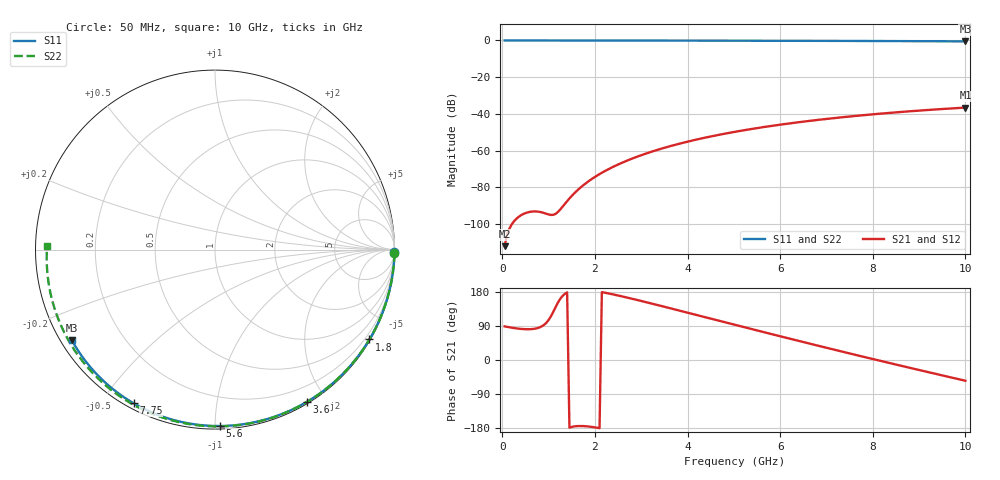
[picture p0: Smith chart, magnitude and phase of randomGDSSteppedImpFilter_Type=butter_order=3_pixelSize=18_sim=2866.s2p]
! freq	dB(S11)	phase(S11)	dB(S12)	phase(S12)
!  dB(S21)	phase(S21)	dB(S22)	phase(S22)
!S-par simulation data
#  GHz  S  DB  R 50
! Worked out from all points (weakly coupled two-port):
!   200 points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, 50 MHz to 10 GHz, reference 50 ohm
!   highest |S21| = -36.59 dB at 10 GHz (marker M1); lowest = -112.1 dB at 50 MHz (marker M2)
!   lowest |S11| = -0.5 dB at 10 GHz (marker M3), VSWR 34.69, Z = 1.56 - j14.5 ohm
!   |S11| at or under -10 dB: nowhere
!   |S22| runs from -0.6 to 0.0 dB; largest |S21 - S12| = 0
!   S11 on the Smith chart (normalised r, x): 50 MHz: open; 1.8 GHz: 0.03, -3.71; 3.6 GHz: 0.02, -1.77; 5.6 GHz: 0.02, -1.03; 7.75 GHz: 0.02, -0.60; 10 GHz: 0.03, -0.29
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0.05  -0.00 -0.9  -112.08 88.7  -112.08 88.7  -0.00 -1.1
0.4  -0.01 -6.8  -95.29 82.1  -95.29 82.1  -0.01 -8.5
0.8  -0.02 -13.6  -93.37 85.8  -93.37 85.8  -0.02 -16.9
1.2  -0.03 -20.3  -93.49 151.2  -93.49 151.2  -0.03 -25.2
1.65  -0.04 -27.7  -80.99 -174.2  -80.99 -174.2  -0.04 -34.5
1.7  -0.04 -28.5  -79.90 -174.2  -79.90 -174.2  -0.04 -35.5
1.75  -0.04 -29.4  -78.86 -174.4  -78.86 -174.4  -0.05 -36.5
1.8  -0.04 -30.2  -77.88 -174.8  -77.88 -174.8  -0.05 -37.5
2.1  -0.04 -35.1  -72.82 -179.8  -72.82 -179.8  -0.06 -43.6
2.5  -0.05 -41.5  -67.59 170.2  -67.59 170.2  -0.07 -51.5
2.9  -0.06 -47.9  -63.44 158.8  -63.44 158.8  -0.08 -59.3
3.4  -0.07 -55.8  -59.23 143.6  -59.23 143.6  -0.09 -68.9
3.6  -0.08 -58.9  -57.77 137.4  -57.77 137.4  -0.10 -72.6
4.3  -0.10 -69.5  -53.40 115.5  -53.40 115.5  -0.12 -85.4
5.05  -0.12 -80.6  -49.66 92.0  -49.66 92.0  -0.15 -98.7
5.6  -0.15 -88.5  -47.37 74.9  -47.37 74.9  -0.18 -108.1
6.15  -0.17 -96.2  -45.37 58.0  -45.37 58.0  -0.21 -117.4
6.7  -0.20 -103.8  -43.62 41.3  -43.62 41.3  -0.24 -126.4
7.75  -0.27 -117.9  -40.82 9.9  -40.82 9.9  -0.33 -143.6
8.35  -0.32 -125.8  -39.48 -7.7  -39.48 -7.7  -0.38 -153.4
9.2  -0.41 -137.0  -37.86 -32.1  -37.86 -32.1  -0.48 -167.5
10  -0.50 -147.6  -36.59 -54.7  -36.59 -54.7  -0.58 178.7
